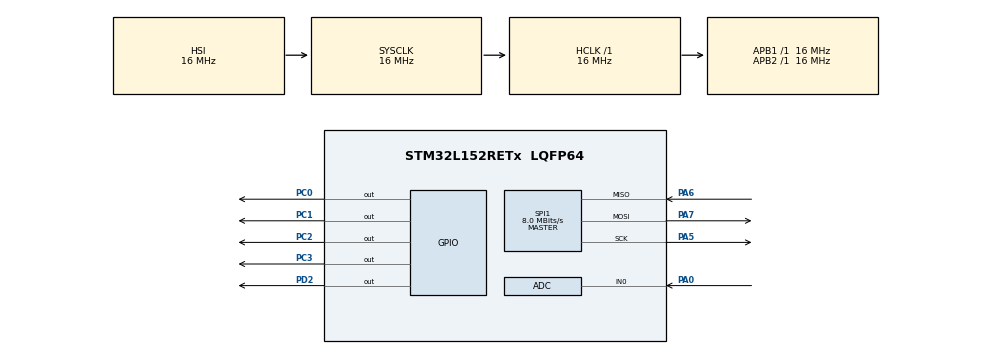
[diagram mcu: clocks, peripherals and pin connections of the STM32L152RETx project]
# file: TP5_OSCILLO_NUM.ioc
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ADC.Channel-0\#ChannelRegularConversion=ADC_CHANNEL_0
ADC.NbrOfConversionFlag=1
ADC.Rank-0\#ChannelRegularConversion=1
ADC.SamplingTime-0\#ChannelRegularConversion=ADC_SAMPLETIME_4CYCLES
Mcu.Family=STM32L1
Mcu.Name=STM32L152RETx
Mcu.Package=LQFP64
NVIC.ADC1_IRQn=true\:0\:0\:false\:false\:true\:true\:true\:true
NVIC.PriorityGroup=NVIC_PRIORITYGROUP_4
PA0-WKUP1.Mode=IN0
PA0-WKUP1.Signal=ADC_IN0
PA5.Mode=Full_Duplex_Master
PA5.Signal=SPI1_SCK
PA6.Mode=Full_Duplex_Master
PA6.Signal=SPI1_MISO
PA7.Mode=Full_Duplex_Master
PA7.Signal=SPI1_MOSI
PB15.Signal=S_TIM11_CH1
PB7.Signal=S_TIM4_CH2
PC0.Signal=GPIO_Output
PC1.PinState=GPIO_PIN_SET
PC1.Signal=GPIO_Output
PC2.PinState=GPIO_PIN_SET
PC2.Signal=GPIO_Output
PC3.PinState=GPIO_PIN_SET
PC3.Signal=GPIO_Output
PD2.PinState=GPIO_PIN_SET
PD2.Signal=GPIO_Output
ProjectManager.HeapSize=0x200
ProjectManager.StackSize=0x400
ProjectManager.TargetToolchain=STM32CubeIDE
RCC.AHBFreq_Value=16000000
RCC.APB1Freq_Value=16000000
RCC.APB1TimFreq_Value=16000000
RCC.APB2Freq_Value=16000000
RCC.APB2TimFreq_Value=16000000
RCC.HCLKFreq_Value=16000000
RCC.HSE_VALUE=24000000
RCC.HSI_VALUE=16000000
RCC.LSE_VALUE=32768
RCC.MSI_VALUE=2097000
RCC.SYSCLKFreq_VALUE=16000000
RCC.SYSCLKSource=RCC_SYSCLKSOURCE_HSI
RCC.VCOOutputFreq_Value=48000000
SH.S_TIM11_CH1.0=TIM11_CH1
SH.S_TIM4_CH2.0=TIM4_CH2
SPI1.CalculateBaudRate=8.0 MBits/s
SPI1.Direction=SPI_DIRECTION_2LINES
SPI1.Mode=SPI_MODE_MASTER
SPI1.VirtualType=VM_MASTER
board=custom

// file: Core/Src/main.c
/* USER CODE BEGIN Header */
/**
  ******************************************************************************
  * @file           : main.c
  * @brief          : Main program body
  ******************************************************************************
  * @attention
  *
  * Copyright (c) 2025 STMicroelectronics.
  * All rights reserved.
  *
  * This software is licensed under terms that can be found in the LICENSE file
  * in the root directory of this software component.
  * If no LICENSE file comes with this software, it is provided AS-IS.
  *
  ******************************************************************************
  */
/* USER CODE END Header */
#include "main.h"

/* USER CODE BEGIN Includes */
#include "max7219.h"
#include "fonc_tft.h"

/* USER CODE END Includes */

ADC_HandleTypeDef hadc;

SPI_HandleTypeDef hspi1;

void SystemClock_Config(void);
static void MX_GPIO_Init(void);
static void MX_SPI1_Init(void);
static void MX_ADC_Init(void);
/* USER CODE BEGIN PFP */
void drawHLine_TFT(uint16_t x, uint16_t y, uint16_t length, uint16_t color);
void drawAxes();

/* USER CODE END PFP */

/* USER CODE BEGIN 0 */
void drawHLine_TFT(uint16_t x, uint16_t y, uint16_t length, uint16_t color) {
    for (uint16_t i = 0; i < length; i++) {
        drawPixel_TFT(x + i, y, color);
    }
}

void drawAxes() {
	drawHLine_TFT(0, 127, 115, ST7735_WHITE);
	drawHLine_TFT(0, 88, 115, ST7735_WHITE);
	drawHLine_TFT(0, 50, 115, ST7735_WHITE);
	drawHLine_TFT(0, 11, 115, ST7735_WHITE);

    displayChar_TFT(120, 127, '0', ST7735_WHITE, ST7735_BLACK, 1);
    displayChar_TFT(120, 88, '1', ST7735_WHITE, ST7735_BLACK, 1);
    displayChar_TFT(120, 50, '2', ST7735_WHITE, ST7735_BLACK, 1);
    displayChar_TFT(120, 11, '3', ST7735_WHITE, ST7735_BLACK, 1);
}

/* USER CODE END 0 */

int main(void)
{

  /* MCU Configuration--------------------------------------------------------*/

  /* Reset of all peripherals, Initializes the Flash interface and the Systick. */
  HAL_Init();

  /* Configure the system clock */
  SystemClock_Config();

  /* Initialize all configured peripherals */
  MX_GPIO_Init();
  MX_SPI1_Init();
  MX_ADC_Init();
  /* USER CODE BEGIN 2 */
  MAX7219_Init();
  init_TFT();
  MAX7219_Clear();

  /* USER CODE END 2 */

  /* Infinite loop */
  /* USER CODE BEGIN WHILE */
  drawAxes();
  uint8_t x_pos = 0;
  while (1)
  {
    /* USER CODE END WHILE */

    /* USER CODE BEGIN 3 */
	  HAL_ADC_Start(&hadc);
	  HAL_ADC_PollForConversion(&hadc, 1000);
	  uint32_t value = HAL_ADC_GetValue(&hadc);
	  HAL_ADC_Stop(&hadc);
	  uint32_t milivolt = (value / 4096.0) * 3300;
	  uint8_t y_pos = 127 - (milivolt * 127) / 3300;
	  drawPixel_TFT(x_pos, y_pos, ST7735_YELLOW);
	  x_pos++;
	  if (x_pos >= 128) {
		  x_pos = 0;
		  fillScreen_TFT(ST7735_BLACK);
		  drawAxes();
	   }
	  HAL_Delay(10);
  }

  /* USER CODE END 3 */
}

void SystemClock_Config(void)
{
  RCC_OscInitTypeDef RCC_OscInitStruct = {0};
  RCC_ClkInitTypeDef RCC_ClkInitStruct = {0};

  /** Configure the main internal regulator output voltage
  */
  __HAL_PWR_VOLTAGESCALING_CONFIG(PWR_REGULATOR_VOLTAGE_SCALE1);

  /** Initializes the RCC Oscillators according to the specified parameters
  * in the RCC_OscInitTypeDef structure.
  */
  RCC_OscInitStruct.OscillatorType = RCC_OSCILLATORTYPE_HSI;
  RCC_OscInitStruct.HSIState = RCC_HSI_ON;
  RCC_OscInitStruct.HSICalibrationValue = RCC_HSICALIBRATION_DEFAULT;
  RCC_OscInitStruct.PLL.PLLState = RCC_PLL_NONE;
  if (HAL_RCC_OscConfig(&RCC_OscInitStruct) != HAL_OK)
  {
    Error_Handler();
  }

  /** Initializes the CPU, AHB and APB buses clocks
  */
  RCC_ClkInitStruct.ClockType = RCC_CLOCKTYPE_HCLK|RCC_CLOCKTYPE_SYSCLK
                              |RCC_CLOCKTYPE_PCLK1|RCC_CLOCKTYPE_PCLK2;
  RCC_ClkInitStruct.SYSCLKSource = RCC_SYSCLKSOURCE_HSI;
  RCC_ClkInitStruct.AHBCLKDivider = RCC_SYSCLK_DIV1;
  RCC_ClkInitStruct.APB1CLKDivider = RCC_HCLK_DIV1;
  RCC_ClkInitStruct.APB2CLKDivider = RCC_HCLK_DIV1;

  if (HAL_RCC_ClockConfig(&RCC_ClkInitStruct, FLASH_LATENCY_0) != HAL_OK)
  {
    Error_Handler();
  }
}

static void MX_ADC_Init(void)
{

  ADC_ChannelConfTypeDef sConfig = {0};

  /** Configure the global features of the ADC (Clock, Resolution, Data Alignment and number of conversion)
  */
  hadc.Instance = ADC1;
  hadc.Init.ClockPrescaler = ADC_CLOCK_ASYNC_DIV1;
  hadc.Init.Resolution = ADC_RESOLUTION_12B;
  hadc.Init.DataAlign = ADC_DATAALIGN_RIGHT;
  hadc.Init.ScanConvMode = ADC_SCAN_DISABLE;
  hadc.Init.EOCSelection = ADC_EOC_SEQ_CONV;
  hadc.Init.LowPowerAutoWait = ADC_AUTOWAIT_DISABLE;
  hadc.Init.LowPowerAutoPowerOff = ADC_AUTOPOWEROFF_DISABLE;
  hadc.Init.ChannelsBank = ADC_CHANNELS_BANK_A;
  hadc.Init.ContinuousConvMode = DISABLE;
  hadc.Init.NbrOfConversion = 1;
  hadc.Init.DiscontinuousConvMode = DISABLE;
  hadc.Init.ExternalTrigConv = ADC_SOFTWARE_START;
  hadc.Init.ExternalTrigConvEdge = ADC_EXTERNALTRIGCONVEDGE_NONE;
  hadc.Init.DMAContinuousRequests = DISABLE;
  if (HAL_ADC_Init(&hadc) != HAL_OK)
  {
    Error_Handler();
  }

  /** Configure for the selected ADC regular channel its corresponding rank in the sequencer and its sample time.
  */
  sConfig.Channel = ADC_CHANNEL_0;
  sConfig.Rank = ADC_REGULAR_RANK_1;
  sConfig.SamplingTime = ADC_SAMPLETIME_4CYCLES;
  if (HAL_ADC_ConfigChannel(&hadc, &sConfig) != HAL_OK)
  {
    Error_Handler();
  }

}

static void MX_SPI1_Init(void)
{

  /* SPI1 parameter configuration*/
  hspi1.Instance = SPI1;
  hspi1.Init.Mode = SPI_MODE_MASTER;
  hspi1.Init.Direction = SPI_DIRECTION_2LINES;
  hspi1.Init.DataSize = SPI_DATASIZE_8BIT;
  hspi1.Init.CLKPolarity = SPI_POLARITY_LOW;
  hspi1.Init.CLKPhase = SPI_PHASE_1EDGE;
  hspi1.Init.NSS = SPI_NSS_SOFT;
  hspi1.Init.BaudRatePrescaler = SPI_BAUDRATEPRESCALER_2;
  hspi1.Init.FirstBit = SPI_FIRSTBIT_MSB;
  hspi1.Init.TIMode = SPI_TIMODE_DISABLE;
  hspi1.Init.CRCCalculation = SPI_CRCCALCULATION_DISABLE;
  hspi1.Init.CRCPolynomial = 10;
  if (HAL_SPI_Init(&hspi1) != HAL_OK)
  {
    Error_Handler();
  }

}

static void MX_GPIO_Init(void)
{
  GPIO_InitTypeDef GPIO_InitStruct = {0};

  /* GPIO Ports Clock Enable */
  __HAL_RCC_GPIOC_CLK_ENABLE();
  __HAL_RCC_GPIOA_CLK_ENABLE();
  __HAL_RCC_GPIOB_CLK_ENABLE();
  __HAL_RCC_GPIOD_CLK_ENABLE();

  /*Configure GPIO pin Output Level */
  HAL_GPIO_WritePin(GPIOC, GPIO_PIN_0, GPIO_PIN_RESET);

  /*Configure GPIO pin Output Level */
  HAL_GPIO_WritePin(GPIOC, GPIO_PIN_1|GPIO_PIN_2|GPIO_PIN_3, GPIO_PIN_SET);

  /*Configure GPIO pin Output Level */
  HAL_GPIO_WritePin(GPIOD, GPIO_PIN_2, GPIO_PIN_SET);

  /*Configure GPIO pins : PC0 PC1 PC2 PC3 */
  GPIO_InitStruct.Pin = GPIO_PIN_0|GPIO_PIN_1|GPIO_PIN_2|GPIO_PIN_3;
  GPIO_InitStruct.Mode = GPIO_MODE_OUTPUT_PP;
  GPIO_InitStruct.Pull = GPIO_NOPULL;
  GPIO_InitStruct.Speed = GPIO_SPEED_FREQ_LOW;
  HAL_GPIO_Init(GPIOC, &GPIO_InitStruct);

  /*Configure GPIO pin : PB15 */
  GPIO_InitStruct.Pin = GPIO_PIN_15;
  GPIO_InitStruct.Mode = GPIO_MODE_AF_PP;
  GPIO_InitStruct.Pull = GPIO_NOPULL;
  GPIO_InitStruct.Speed = GPIO_SPEED_FREQ_LOW;
  GPIO_InitStruct.Alternate = GPIO_AF3_TIM11;
  HAL_GPIO_Init(GPIOB, &GPIO_InitStruct);

  /*Configure GPIO pin : PD2 */
  GPIO_InitStruct.Pin = GPIO_PIN_2;
  GPIO_InitStruct.Mode = GPIO_MODE_OUTPUT_PP;
  GPIO_InitStruct.Pull = GPIO_NOPULL;
  GPIO_InitStruct.Speed = GPIO_SPEED_FREQ_LOW;
  HAL_GPIO_Init(GPIOD, &GPIO_InitStruct);

  /*Configure GPIO pin : PB7 */
  GPIO_InitStruct.Pin = GPIO_PIN_7;
  GPIO_InitStruct.Mode = GPIO_MODE_AF_PP;
  GPIO_InitStruct.Pull = GPIO_NOPULL;
  GPIO_InitStruct.Speed = GPIO_SPEED_FREQ_LOW;
  GPIO_InitStruct.Alternate = GPIO_AF2_TIM4;
  HAL_GPIO_Init(GPIOB, &GPIO_InitStruct);

}

void Error_Handler(void)
{
  __disable_irq();
  while (1)
  {
  }
}
